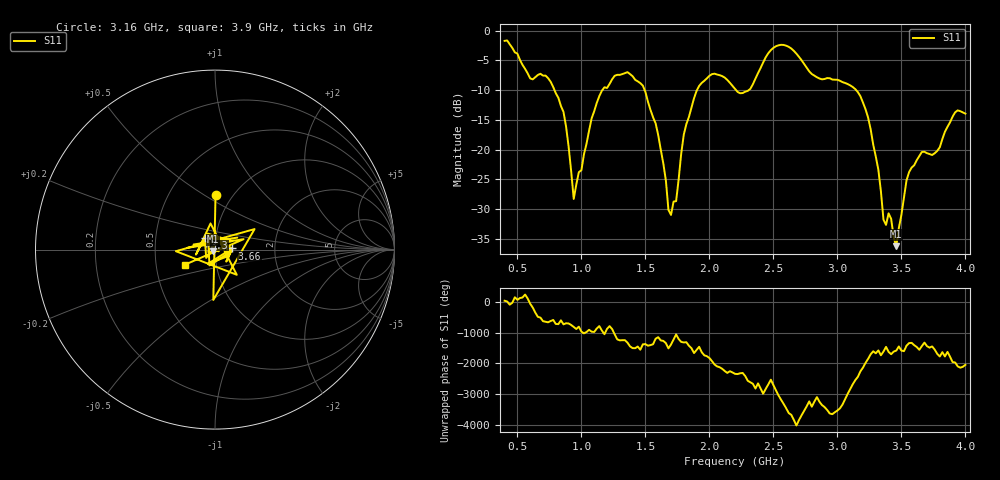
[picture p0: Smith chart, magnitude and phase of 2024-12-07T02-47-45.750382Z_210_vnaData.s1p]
!Created with skrf (http://scikit-rf.org).
# Hz S RI R 50.0
!freq ReS11 ImS11
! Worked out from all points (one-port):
!   181 points, 400 MHz to 4 GHz, reference 50 ohm
!   lowest |S11| = -36.3 dB at 3.46 GHz (marker M1), VSWR 1.03, Z = 48.8 - j0.915 ohm
!   |S11| at or under -10 dB: 790 MHz to 1.163 GHz (373.1 MHz wide, 38.2 % of centre); 1.495 GHz to 1.903 GHz (408 MHz wide, 24 % of centre); 3.147 GHz to end of sweep (the widest 3 of 4)
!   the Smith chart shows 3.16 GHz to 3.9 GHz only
!   S11 on the Smith chart (normalised r, x): 3.16 GHz: 0.83, +0.56; 3.3 GHz: 0.89, +0.12; 3.66 GHz: 1.21, +0.02; 3.9 GHz: 0.70, -0.12
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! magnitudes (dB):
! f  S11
! 400 MHz  -1.7
! 600 MHz  -8.0
! 740 MHz  -8.0
! 860 MHz  -13.7
! 940 MHz  -28.3
! 1.12 GHz  -12.1
! 1.3 GHz  -7.4
! 1.5 GHz  -10.3
! 1.6 GHz  -17.6
! 1.7 GHz  -31.0
! 1.76 GHz  -25.0
! 1.8 GHz  -17.5
! 1.92 GHz  -9.3
! 2.2 GHz  -9.7
! 2.32 GHz  -9.8
! 2.5 GHz  -2.9
! 2.66 GHz  -3.4
! 3.1 GHz  -9.2
! 3.16 GHz  -10.3
! 3.3 GHz  -21.2
! 3.36 GHz  -31.8
! 3.4 GHz  -30.7
! 3.46 GHz  -36.3
! 3.56 GHz  -23.8
! 3.66 GHz  -20.4
! 3.78 GHz  -20.2
! 3.9 GHz  -14.5
! 4 GHz  -14.0
